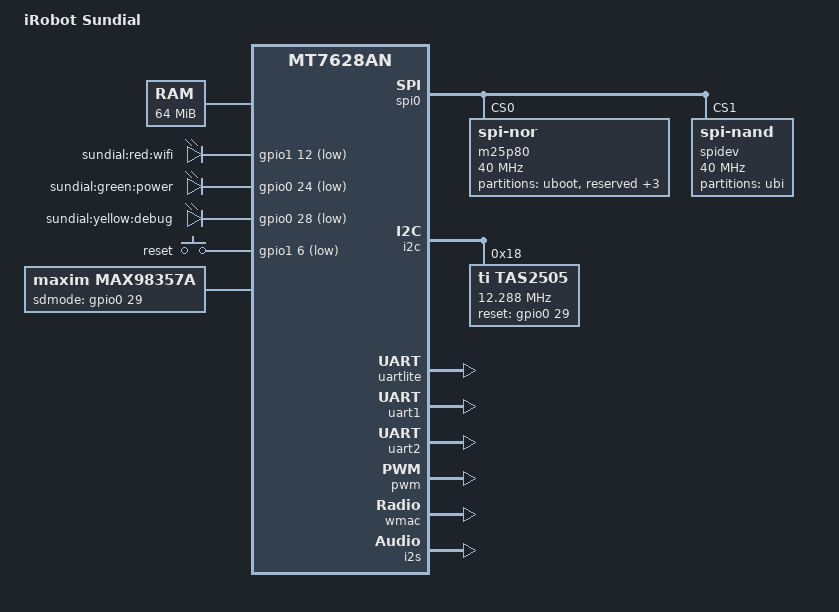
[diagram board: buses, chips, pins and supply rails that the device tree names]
/dts-v1/;

#include "mt7628an.dtsi"

#include <dt-bindings/gpio/gpio.h>
#include <dt-bindings/input/input.h>

/ {
	compatible = "mediatek,sundial", "mediatek,mt7628an-soc";
	model = "iRobot Sundial";
	rootfshash = "UNKNOWN";

	chosen {
		/* Note that this gets overwritten by (newer version of) the bootloader */
		bootargs = "console=ttyS1,115200";
	};

	aliases {
		serial0 = &uart1;
	};

	memory@0 {
		device_type = "memory";
		reg = <0x0 0x4000000>;
	};

	bootstrap {
		compatible = "mediatek,linkit";
		status = "okay";
	};

	gpio-leds {
		compatible = "gpio-leds";

		wifi {
			label = "sundial:red:wifi";
			gpios = <&gpio1 12 GPIO_ACTIVE_LOW>;
		        linux,default-trigger = "phy0rx";
			default-state = "on";
		};

		power {
			label = "sundial:green:power";
			gpios = <&gpio0 24 GPIO_ACTIVE_LOW>;
		        linux,default-trigger = "default-on";
			default-state = "on";
		};

		debug {
			label = "sundial:yellow:debug";
			gpios = <&gpio0 28 GPIO_ACTIVE_LOW>;
		        linux,default-trigger = "heartbeat";
			default-state = "on";
		};
	};

	gpio-keys-polled {
		compatible = "gpio-keys-polled";
		#address-cells = <1>;
		#size-cells = <0>;
		poll-interval = <20>;

		wps {
			label = "reset";
			gpios = <&gpio1 6 GPIO_ACTIVE_LOW>;
			linux,code = <KEY_WPS_BUTTON>;
		};
	};

        sound0: sound@0 {
                compatible = "simple-audio-card";
                status = "okay";
                simple-audio-card,format = "i2s";
                simple-audio-card,name = "TI-Audio-I2S";
                simple-audio-card,bitclock-slave = <&ti_dailink_slave>;
                simple-audio-card,frame-slave = <&ti_dailink_slave>;
                simple-audio-card,widgets =
                        "Line", "Line Out",
                        "Speaker", "Speaker";
                simple-audio-card,routing =
                        "Speaker", "Speaker";

                simple-audio-card,mclk-fs = <256>;

                simple-audio-card,dai-link@0 {
                      format = "i2s";
                      cpu {
                            sound-dai = <&i2s>;
                      };
                      ti_dailink_slave: codec {
                            sound-dai = <&tas2505>;
                      };
                      tas2505_mclk: tas2505_mclk {
                            compatible = "fixed-clock";
                            #clock-cells = <0>;
                      };
                };

        };

        sound1: sound@1 {
                compatible = "simple-audio-card";
                status = "okay";
                simple-audio-card,format = "i2s";
                simple-audio-card,name = "Maxim-Audio-I2S";
                simple-audio-card,bitclock-master = <&cpu_dai>;
                simple-audio-card,frame_master = <&cpu_dai>;

                simple-audio-card,dai-link@0 {
                      format = "i2s";
                      cpu_dai: cpu {
                            sound-dai = <&i2s>;
                      };
                      codec {
                            sound-dai = <&max98357a>;
                      };
                };
        };

         max98357a: max98357a {
                compatible = "maxim,max98357a";
                sdmode-gpios = <&gpio0 29 GPIO_ACTIVE_HIGH>;
                #sound-dai-cells = <0>;
         };
};

&pinctrl {
	state_default: pinctrl0 {
		gpio {
			ralink,group = "gpio";
			ralink,function = "gpio";
		};

		spis {
			ralink,group = "spis";
			ralink,function = "gpio";
		};

		wled_an {
			ralink,group = "wled_an";
			ralink,function = "gpio";
		};
           };

           i2s_pins: i2s {
                i2s {
                        ralink,group = "i2s";
                        ralink,function = "i2s";
                };
           };
};

&spi0 {
	status = "okay";

	pinctrl-names = "default";
	pinctrl-0 = <&spi_pins>, <&spi_cs1_pins>;

	m25p80@0 {
		#address-cells = <1>;
		#size-cells = <1>;
		compatible = "jedec,spi-nor";
		reg = <0>;
		spi-max-frequency = <40000000>;
		m25p,chunked-io = <31>;

		partitions {
			compatible = "fixed-partitions";
			#address-cells = <1>;
			#size-cells = <1>;

			uboot: partition@0 {
				label = "uboot";
				reg = <0x0 0xa0000>;
			};
			factory: partition@a0000 {
				label = "reserved";
				reg = <0xa0000 0x20000>;
			};
			factory_unlock: partition@c0000 {
				label = "factory_unlock";
				reg = <0xc0000 0x10000>;
			};
			backup: partition@d0000 {
				label = "backup";
				reg = <0xd0000 0x10000>;
			};
			crypto: partition@e0000 {
				label = "crypto";
				reg = <0xe0000 0x20000>;
			};
		};
	};

	spidev@1 {
		#address-cells = <1>;
		#size-cells = <1>;
		compatible = "spi-nand";
		reg = <1>;
		spi-max-frequency = <40000000>;

		partitions {
			compatible = "fixed-partitions";
			#address-cells = <1>;
			#size-cells = <1>;

			ubi: partition@0 {
				label = "ubi";
				reg = <0x0 0x8000000>;
			};
		};
	};
};

&i2c {
	status = "okay";
        tas2505: tas2505@30 {
                #sound-dai-cells = <0>;
                compatible = "ti,tas2505";
                gpio-reset = <&gpio0 29 GPIO_ACTIVE_HIGH>; /* AUDIO_RST */
                reg = <0x18>;
                clocks = <&tas2505_mclk>;
                clock-names = "mclk";
                clock-frequency = <12288000>;
		pinctrl-names = "default";
		pinctrl-0 = <&refclk_pins>;
		ti,shared-lrclk;
        };
};

&uartlite {
	status = "okay";
};

&uart1 {
	status = "okay";
};

&uart2 {
	status = "okay";
};

&pwm {
	status = "okay";
};

&ethernet {
	mtd-mac-address = <&factory 0x28>;
};

&wmac {
	status = "okay";
};

&esw {
	mediatek,portmap = <0x3>;
	mediatek,portdisable = <0x3c>;
};

&i2s {
	#sound-dai-cells = <0>;
	status = "okay";
};

&gdma {
	status = "okay";
};
